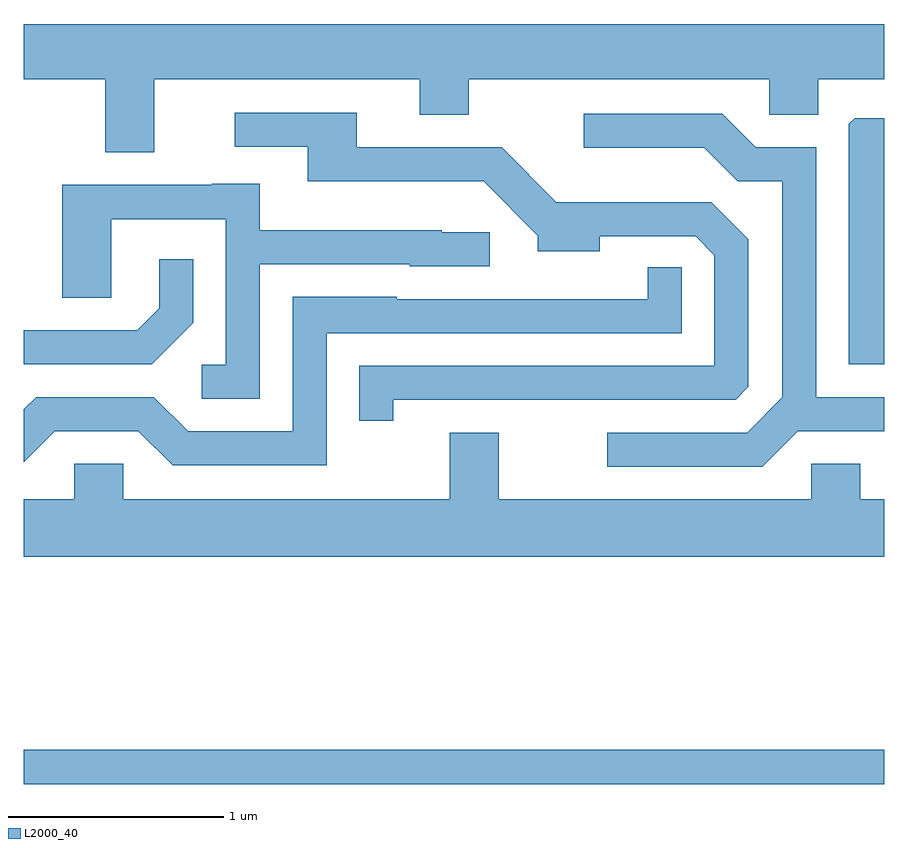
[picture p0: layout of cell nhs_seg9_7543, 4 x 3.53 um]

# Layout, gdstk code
import gdstk
lib = gdstk.Library(unit=1e-6, precision=1e-09)
def R(c, l, rs):  # rectangles x0, y0, x1, y1
    for r in rs: c.add(gdstk.rectangle(r[:2], r[2:], *l))
def P(c, l, *ps):  # polygons
    for p in ps: c.add(gdstk.Polygon(p, *l))
L2000_40 = (2000, 40)

nhs_seg9_7543 = lib.new_cell('nhs_seg9_7543')
R(nhs_seg9_7543, L2000_40, [(407.611,2072.901,411.611,2073.059)])
P(nhs_seg9_7543, L2000_40, [(408.219,2076.176),(409.451,2076.176),(409.451,2076.011),(409.679,2076.011),(409.679,2076.176),(411.076,2076.176),(411.076,2076.011),(411.304,2076.011),(411.304,2076.176),(411.611,2076.176),(411.611,2076.432),(407.611,2076.432),(407.611,2076.176),(407.991,2076.176),(407.991,2075.836),(408.219,2075.836)],
  [(409.329,2074.686),(410.919,2074.686),(410.979,2074.747),(410.979,2075.432),(410.807,2075.604),(410.087,2075.604),(409.832,2075.859),(409.159,2075.859),(409.159,2076.019),(408.593,2076.019),(408.593,2075.861),(408.931,2075.861),(408.931,2075.701),(409.749,2075.701),(410.001,2075.449),(410.001,2075.376),(410.289,2075.376),(410.289,2075.446),(410.734,2075.446),(410.821,2075.358),(410.821,2074.844),(409.171,2074.844),(409.171,2074.588),(409.329,2074.588)],
  [(411.207,2074.541),(411.611,2074.541),(411.611,2074.699),(411.294,2074.699),(411.294,2075.859),(411.012,2075.859),(410.857,2076.014),(410.213,2076.014),(410.213,2075.856),(410.774,2075.856),(410.929,2075.701),(411.136,2075.701),(411.136,2074.697),(410.974,2074.534),(410.323,2074.534),(410.323,2074.376),(411.042,2074.376)],
  [(411.611,2075.994),(411.472,2075.994),(411.446,2075.969),(411.446,2074.851),(411.611,2074.851)],
  [(408.709,2075.316),(409.405,2075.316),(409.405,2075.306),(409.778,2075.306),(409.778,2075.464),(409.555,2075.464),(409.555,2075.474),(408.709,2075.474),(408.709,2075.689),(408.485,2075.689),(408.485,2075.684),(407.791,2075.684),(407.791,2075.161),(408.019,2075.161),(408.019,2075.526),(408.551,2075.526),(408.551,2074.849),(408.438,2074.849),(408.438,2074.691),(408.709,2074.691)],
  [(408.399,2075.044),(408.399,2075.338),(408.241,2075.338),(408.241,2075.112),(408.139,2075.009),(407.611,2075.009),(407.611,2074.851),(408.207,2074.851)],
  [(409.019,2074.996),(410.669,2074.996),(410.669,2075.303),(410.511,2075.303),(410.511,2075.154),(409.345,2075.154),(409.345,2075.164),(408.861,2075.164),(408.861,2074.539),(408.377,2074.539),(408.217,2074.699),(407.669,2074.699),(407.611,2074.641),(407.611,2074.395),(407.757,2074.541),(408.144,2074.541),(408.304,2074.381),(409.019,2074.381)],
  [(411.611,2074.224),(411.499,2074.224),(411.499,2074.389),(411.271,2074.389),(411.271,2074.224),(409.819,2074.224),(409.819,2074.534),(409.591,2074.534),(409.591,2074.224),(408.074,2074.224),(408.074,2074.389),(407.846,2074.389),(407.846,2074.224),(407.611,2074.224),(407.611,2073.956),(411.611,2073.956)])

lib.write_gds('nhs_seg9_7543.gds')
